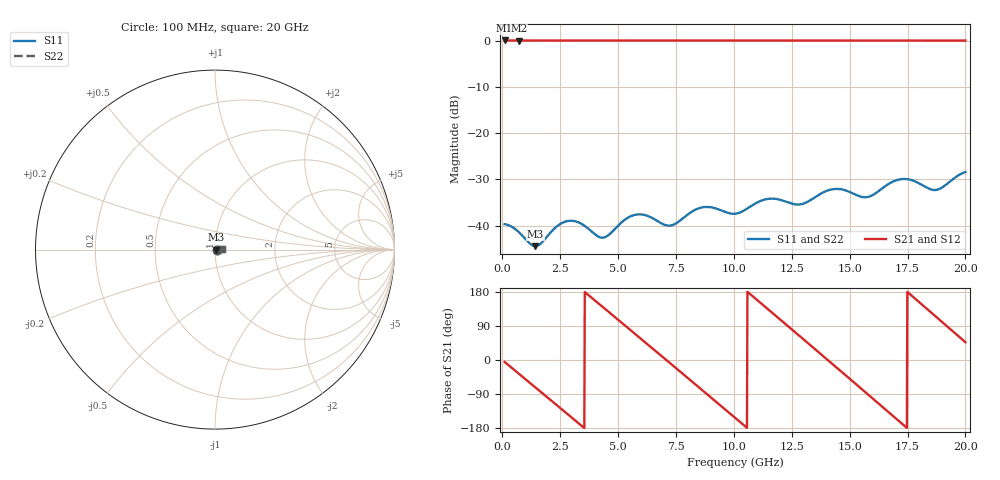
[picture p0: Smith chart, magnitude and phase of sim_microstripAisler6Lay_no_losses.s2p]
#  Hz  S  RI  R  50
!  Microstrip line with via fence on Aisler 6 layer HD stackup
!  Line length = combLineTabbed6G_2xthru (54.2mm) - SMA_Rosenbergerv2 fixture (28.9mm) = 23.5mm
!  No losses
!  Paramter List:
!  lossySubstrate = 0, Flag that indicates if substrate losses were enabled
!  lossyCondSheet = 0, Flag that indicates if the zero thickness conducting sheet model was used
!  w50 = 0.65, Width of the 50Ohm line
!  w50gndfree = 1.225, Seperation between RF trace edges to GND planes
!  lineLength = 23.5, Length of the microstrip transmission line
!  portLength = 8,
!  measPlaneShiftP1 = 8,
!  measPlaneShiftP2 = 8,
!  feedShift = 3.74741,
!  numViasX = 55,
!  pcbX = 39.5,
!  pcbY = 25,
!  stackupL01th = 0.04,
!  stackupSub01th = 0.13626,
!  stackupL02th = 0.035,
!  stackupSub02th = 0.2,
!  stackupL03th = 0.035,
!  viaD03 = 0.3,
!  viaCpD03 = 0.6,
!  viaClearD03 = 1,
!  viaPitch = 0.6,
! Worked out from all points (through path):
!   1001 points, 100 MHz to 20 GHz, reference 50 ohm
!   highest |S21| = 0.02 dB at 100 MHz (marker M1); lowest = 0.0 dB at 716.9 MHz (marker M2)
!   group delay of S21, straight-line fit = 143 ps
!   lowest |S11| = -44.4 dB at 1.433 GHz (marker M3), VSWR 1.01, Z = 50.6 + j0.0163 ohm
!   |S11| at or under -10 dB: start of sweep to end of sweep
!   |S22| runs from -44.4 to -28.4 dB; largest |S21 - S12| = 1.7e-05
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1e8  0.0104 -0.000476  0.9977 -0.0892  0.9977 -0.0892  0.0104 -0.000477
7.169e8  0.00824 -0.00214  0.8044 -0.5911  0.8044 -0.5911  0.00825 -0.00214
1.4333e9  0.00602 0.000161  0.2996 -0.9558  0.2996 -0.9558  0.00602 0.000161
2.3487e9  0.00943 0.00268  -0.4839 -0.8745  -0.4839 -0.8745  0.00943 0.00268
3.4233e9  0.0104 -0.00149  -0.9937 -0.1121  -0.9937 -0.1121  0.0104 -0.00149
4.2193e9  0.0075 -0.000263  -0.8301 0.5592  -0.8301 0.5592  0.0075 -0.000263
5.1745e9  0.0106 0.003  -0.1291 0.9921  -0.1291 0.9921  0.0106 0.003
5.9108e9  0.0133 0.000427  0.5022 0.8656  0.5022 0.8656  0.0133 0.000429
6.7466e9  0.011 -0.00145  0.9559 0.2961  0.9559 0.2961  0.011 -0.00145
7.5824e9  0.0108 0.00188  0.903 -0.4316  0.903 -0.4316  0.0108 0.00187
8.5575e9  0.0156 0.00139  0.2499 -0.969  0.2499 -0.969  0.0156 0.00139
9.2739e9  0.0152 -0.00135  -0.3805 -0.9257  -0.3805 -0.9257  0.0152 -0.00134
1.005e10  0.0135 0.000188  -0.8862 -0.465  -0.8862 -0.465  0.0135 0.000197
1.09455e10  0.0173 0.00233  -0.949 0.318  -0.949 0.318  0.0173 0.00233
1.19405e10  0.0192 -0.00163  -0.3422 0.9404  -0.3422 0.9404  0.0192 -0.00162
1.33733e10  0.0192 0.00256  0.814 0.5821  0.814 0.5821  0.0192 0.0026
1.43086e10  0.0249 -0.000247  0.9742 -0.2283  0.9742 -0.2283  0.025 -0.000273
1.53235e10  0.0211 -0.0029  0.4028 -0.9158  0.4028 -0.9158  0.0212 -0.00305
1.66966e10  0.0282 0.00362  -0.7472 -0.6646  -0.7472 -0.6646  0.0281 0.00355
1.76518e10  0.0309 -0.00452  -0.9885 0.1508  -0.9885 0.1508  0.0309 -0.00451
1.86667e10  0.0243 -0.00117  -0.4647 0.8856  -0.4647 0.8855  0.0243 -0.00124
2e10  0.038 0.00196  0.6822 0.7301  0.6822 0.7301  0.0379 0.00185
